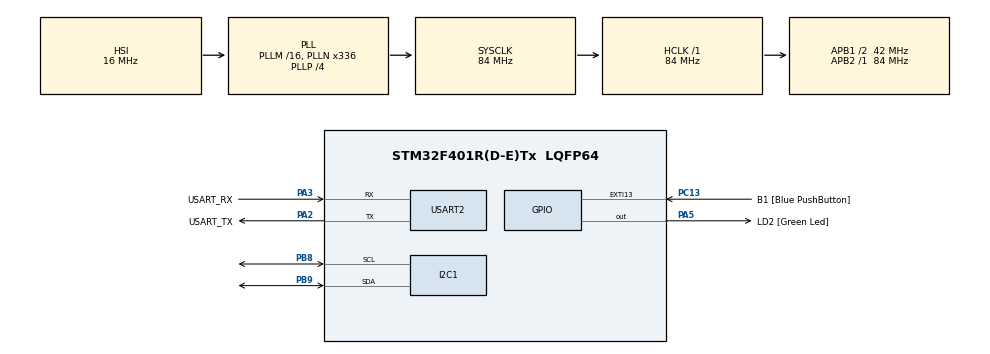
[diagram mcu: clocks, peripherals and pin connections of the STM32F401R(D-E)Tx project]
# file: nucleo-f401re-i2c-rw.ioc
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I2C1.I2C_Mode=I2C_Standard
Mcu.Family=STM32F4
Mcu.Name=STM32F401R(D-E)Tx
Mcu.Package=LQFP64
NVIC.PriorityGroup=NVIC_PRIORITYGROUP_4
PA13.GPIO_Label=TMS
PA13.Mode=Trace_Asynchronous_SW
PA13.Signal=SYS_JTMS-SWDIO
PA14.GPIO_Label=TCK
PA14.Mode=Trace_Asynchronous_SW
PA14.Signal=SYS_JTCK-SWCLK
PA2.GPIO_Label=USART_TX
PA2.GPIO_Mode=GPIO_MODE_AF_PP
PA2.GPIO_PuPd=GPIO_NOPULL
PA2.GPIO_Speed=GPIO_SPEED_FREQ_LOW
PA2.Mode=Asynchronous
PA2.Signal=USART2_TX
PA3.GPIO_Label=USART_RX
PA3.GPIO_Mode=GPIO_MODE_AF_PP
PA3.GPIO_PuPd=GPIO_NOPULL
PA3.GPIO_Speed=GPIO_SPEED_FREQ_LOW
PA3.Mode=Asynchronous
PA3.Signal=USART2_RX
PA5.GPIO_Label=LD2 [Green Led]
PA5.GPIO_Mode=GPIO_MODE_OUTPUT_PP
PA5.GPIO_PuPd=GPIO_NOPULL
PA5.GPIO_Speed=GPIO_SPEED_FREQ_LOW
PA5.Signal=GPIO_Output
PB3.GPIO_Label=SWO
PB3.Mode=Trace_Asynchronous_SW
PB3.Signal=SYS_JTDO-SWO
PB8.Mode=I2C
PB8.Signal=I2C1_SCL
PB9.Mode=I2C
PB9.Signal=I2C1_SDA
PC13-ANTI_TAMP.GPIO_Label=B1 [Blue PushButton]
PC13-ANTI_TAMP.GPIO_ModeDefaultEXTI=GPIO_MODE_IT_FALLING
PC13-ANTI_TAMP.GPIO_PuPd=GPIO_NOPULL
PC13-ANTI_TAMP.Signal=GPXTI13
PC14-OSC32_IN.Mode=LSE-External-Oscillator
PC14-OSC32_IN.Signal=RCC_OSC32_IN
PC15-OSC32_OUT.Mode=LSE-External-Oscillator
PC15-OSC32_OUT.Signal=RCC_OSC32_OUT
PH0\ -\ OSC_IN.Mode=HSE-External-Clock-Source
PH0\ -\ OSC_IN.Signal=RCC_OSC_IN
PH1\ -\ OSC_OUT.Signal=RCC_OSC_OUT
ProjectManager.HeapSize=0x200
ProjectManager.StackSize=0x400
ProjectManager.TargetToolchain=CMake
RCC.48MHZClocksFreq_Value=48000000
RCC.AHBFreq_Value=84000000
RCC.APB1CLKDivider=RCC_HCLK_DIV2
RCC.APB1Freq_Value=42000000
RCC.APB1TimFreq_Value=84000000
RCC.APB2Freq_Value=84000000
RCC.APB2TimFreq_Value=84000000
RCC.CortexFreq_Value=84000000
RCC.HCLKFreq_Value=84000000
RCC.HSE_VALUE=8000000
RCC.HSI_VALUE=16000000
RCC.PLLN=336
RCC.PLLP=RCC_PLLP_DIV4
RCC.PLLQ=7
RCC.SYSCLKFreq_VALUE=84000000
RCC.SYSCLKSource=RCC_SYSCLKSOURCE_PLLCLK
RCC.VCOOutputFreq_Value=336000000
USART2.VirtualMode=VM_ASYNC
board=NUCLEO-F401RE

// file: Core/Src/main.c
/* USER CODE BEGIN Header */
/**
  ******************************************************************************
  * @file           : main.c
  * @brief          : Main program body
  ******************************************************************************
  * @attention
  *
  * Copyright (c) 2026 STMicroelectronics.
  * All rights reserved.
  *
  * This software is licensed under terms that can be found in the LICENSE file
  * in the root directory of this software component.
  * If no LICENSE file comes with this software, it is provided AS-IS.
  *
  ******************************************************************************
  */
/* USER CODE END Header */
#include "main.h"

/* USER CODE BEGIN Includes */
#include <string.h>
#include <stdio.h>
/* USER CODE END Includes */

I2C_HandleTypeDef hi2c1;

UART_HandleTypeDef huart2;

/* USER CODE BEGIN PV */
static const uint8_t MCP9808_ADDR = 0x18 << 1; // MCP9808 I2C address (shifted for HAL)
static const uint8_t MCP9808_REG_AMBIENT_TEMP = 0x05; // Ambient temperature register

/* USER CODE END PV */

void SystemClock_Config(void);
static void MX_GPIO_Init(void);
static void MX_USART2_UART_Init(void);
static void MX_I2C1_Init(void);

int main(void)
{

  /* USER CODE BEGIN 1 */
  HAL_StatusTypeDef status;
  uint8_t buf[32];
  int16_t temp_raw;
  float temp_c;

  /* USER CODE END 1 */

  /* MCU Configuration--------------------------------------------------------*/

  /* Reset of all peripherals, Initializes the Flash interface and the Systick. */
  HAL_Init();

  /* Configure the system clock */
  SystemClock_Config();

  /* Initialize all configured peripherals */
  MX_GPIO_Init();
  MX_USART2_UART_Init();
  MX_I2C1_Init();

  /* Infinite loop */
  /* USER CODE BEGIN WHILE */
  while (1)
  {
    // Tell the MCP9808 to read the ambient temperature
    buf[0] = MCP9808_REG_AMBIENT_TEMP;
    status = HAL_I2C_Master_Transmit(&hi2c1, MCP9808_ADDR, buf, 1, HAL_MAX_DELAY);
    if (status != HAL_OK) {
      strcpy((char*)buf, "Error Tx\r\n");
    } else {

      // Read 2 bytes of temperature data
      status = HAL_I2C_Master_Receive(&hi2c1, MCP9808_ADDR, buf, 2, HAL_MAX_DELAY);
      if (status != HAL_OK) {
        strcpy((char*)buf, "Error Rx\r\n");

      } else {
        // Combine the two bytes into a single 16-bit value and clear upper bits
        temp_raw = (buf[0] << 8) | buf[1];
        temp_raw &= 0x1FFF; // drop alert flags

        temp_c = (temp_raw & 0x0FFF) / 16.0f; // Convert to Celsius and account for decimal

        if (temp_raw & 0x1000) { // Check sign bit
          temp_c -= 256.0f;
        }

        // Prepare the output string
        temp_c *= 100; // Convert to integer representation for two decimal places
        sprintf((char*)buf, "Temp: %u.%02u C\r\n", (unsigned int)temp_c / 100, (unsigned int)temp_c % 100);
      }

    }

    // Send the temperature reading over UART
    HAL_UART_Transmit(&huart2, buf, strlen((char *)buf), HAL_MAX_DELAY);

    // Wait
    HAL_Delay(500);

    /* USER CODE END WHILE */

  }
}

void SystemClock_Config(void)
{
  RCC_OscInitTypeDef RCC_OscInitStruct = {0};
  RCC_ClkInitTypeDef RCC_ClkInitStruct = {0};

  /** Configure the main internal regulator output voltage
  */
  __HAL_RCC_PWR_CLK_ENABLE();
  __HAL_PWR_VOLTAGESCALING_CONFIG(PWR_REGULATOR_VOLTAGE_SCALE2);

  /** Initializes the RCC Oscillators according to the specified parameters
  * in the RCC_OscInitTypeDef structure.
  */
  RCC_OscInitStruct.OscillatorType = RCC_OSCILLATORTYPE_HSI;
  RCC_OscInitStruct.HSIState = RCC_HSI_ON;
  RCC_OscInitStruct.HSICalibrationValue = RCC_HSICALIBRATION_DEFAULT;
  RCC_OscInitStruct.PLL.PLLState = RCC_PLL_ON;
  RCC_OscInitStruct.PLL.PLLSource = RCC_PLLSOURCE_HSI;
  RCC_OscInitStruct.PLL.PLLM = 16;
  RCC_OscInitStruct.PLL.PLLN = 336;
  RCC_OscInitStruct.PLL.PLLP = RCC_PLLP_DIV4;
  RCC_OscInitStruct.PLL.PLLQ = 7;
  if (HAL_RCC_OscConfig(&RCC_OscInitStruct) != HAL_OK)
  {
    Error_Handler();
  }

  /** Initializes the CPU, AHB and APB buses clocks
  */
  RCC_ClkInitStruct.ClockType = RCC_CLOCKTYPE_HCLK|RCC_CLOCKTYPE_SYSCLK
                              |RCC_CLOCKTYPE_PCLK1|RCC_CLOCKTYPE_PCLK2;
  RCC_ClkInitStruct.SYSCLKSource = RCC_SYSCLKSOURCE_PLLCLK;
  RCC_ClkInitStruct.AHBCLKDivider = RCC_SYSCLK_DIV1;
  RCC_ClkInitStruct.APB1CLKDivider = RCC_HCLK_DIV2;
  RCC_ClkInitStruct.APB2CLKDivider = RCC_HCLK_DIV1;

  if (HAL_RCC_ClockConfig(&RCC_ClkInitStruct, FLASH_LATENCY_2) != HAL_OK)
  {
    Error_Handler();
  }
}

static void MX_I2C1_Init(void)
{

  hi2c1.Instance = I2C1;
  hi2c1.Init.ClockSpeed = 100000;
  hi2c1.Init.DutyCycle = I2C_DUTYCYCLE_2;
  hi2c1.Init.OwnAddress1 = 0;
  hi2c1.Init.AddressingMode = I2C_ADDRESSINGMODE_7BIT;
  hi2c1.Init.DualAddressMode = I2C_DUALADDRESS_DISABLE;
  hi2c1.Init.OwnAddress2 = 0;
  hi2c1.Init.GeneralCallMode = I2C_GENERALCALL_DISABLE;
  hi2c1.Init.NoStretchMode = I2C_NOSTRETCH_DISABLE;
  if (HAL_I2C_Init(&hi2c1) != HAL_OK)
  {
    Error_Handler();
  }

}

static void MX_USART2_UART_Init(void)
{

  huart2.Instance = USART2;
  huart2.Init.BaudRate = 115200;
  huart2.Init.WordLength = UART_WORDLENGTH_8B;
  huart2.Init.StopBits = UART_STOPBITS_1;
  huart2.Init.Parity = UART_PARITY_NONE;
  huart2.Init.Mode = UART_MODE_TX_RX;
  huart2.Init.HwFlowCtl = UART_HWCONTROL_NONE;
  huart2.Init.OverSampling = UART_OVERSAMPLING_16;
  if (HAL_UART_Init(&huart2) != HAL_OK)
  {
    Error_Handler();
  }

}

static void MX_GPIO_Init(void)
{
  GPIO_InitTypeDef GPIO_InitStruct = {0};

  /* GPIO Ports Clock Enable */
  __HAL_RCC_GPIOC_CLK_ENABLE();
  __HAL_RCC_GPIOH_CLK_ENABLE();
  __HAL_RCC_GPIOA_CLK_ENABLE();
  __HAL_RCC_GPIOB_CLK_ENABLE();

  /*Configure GPIO pin Output Level */
  HAL_GPIO_WritePin(LD2_GPIO_Port, LD2_Pin, GPIO_PIN_RESET);

  /*Configure GPIO pin : B1_Pin */
  GPIO_InitStruct.Pin = B1_Pin;
  GPIO_InitStruct.Mode = GPIO_MODE_IT_FALLING;
  GPIO_InitStruct.Pull = GPIO_NOPULL;
  HAL_GPIO_Init(B1_GPIO_Port, &GPIO_InitStruct);

  /*Configure GPIO pin : LD2_Pin */
  GPIO_InitStruct.Pin = LD2_Pin;
  GPIO_InitStruct.Mode = GPIO_MODE_OUTPUT_PP;
  GPIO_InitStruct.Pull = GPIO_NOPULL;
  GPIO_InitStruct.Speed = GPIO_SPEED_FREQ_LOW;
  HAL_GPIO_Init(LD2_GPIO_Port, &GPIO_InitStruct);

}

void Error_Handler(void)
{
  __disable_irq();
  while (1)
  {
  }
}
